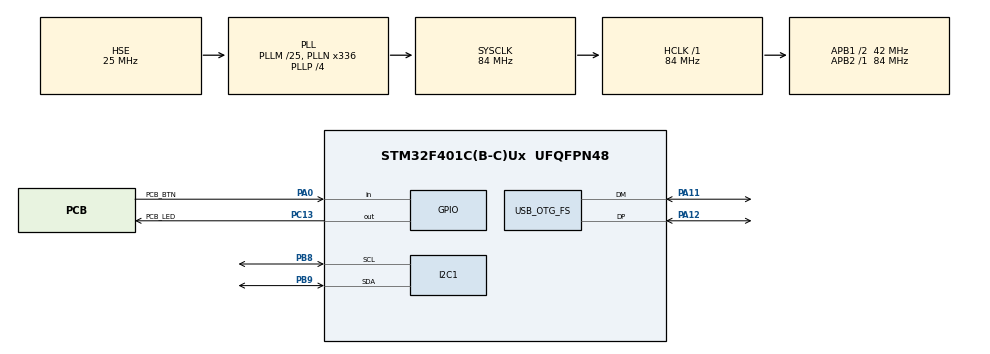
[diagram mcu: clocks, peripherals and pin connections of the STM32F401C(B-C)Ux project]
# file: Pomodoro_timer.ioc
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Mcu.Family=STM32F4
Mcu.Name=STM32F401C(B-C)Ux
Mcu.Package=UFQFPN48
NVIC.OTG_FS_IRQn=true\:0\:0\:false\:false\:true\:true\:true
NVIC.PriorityGroup=NVIC_PRIORITYGROUP_4
NVIC.TIM5_IRQn=true\:0\:0\:false\:false\:true\:true\:true
PA0-WKUP.GPIO_Label=PCB_BTN
PA0-WKUP.GPIO_PuPd=GPIO_PULLUP
PA0-WKUP.Signal=GPIO_Input
PA11.Mode=Device_Only
PA11.Signal=USB_OTG_FS_DM
PA12.Mode=Device_Only
PA12.Signal=USB_OTG_FS_DP
PA13.Mode=Serial_Wire
PA13.Signal=SYS_JTMS-SWDIO
PA14.Mode=Serial_Wire
PA14.Signal=SYS_JTCK-SWCLK
PB8.Mode=I2C
PB8.Signal=I2C1_SCL
PB9.Mode=I2C
PB9.Signal=I2C1_SDA
PC13-ANTI_TAMP.GPIO_Label=PCB_LED
PC13-ANTI_TAMP.GPIO_ModeDefaultOutputPP=GPIO_MODE_OUTPUT_OD
PC13-ANTI_TAMP.PinState=GPIO_PIN_SET
PC13-ANTI_TAMP.Signal=GPIO_Output
PH0\ -\ OSC_IN.Mode=HSE-External-Oscillator
PH0\ -\ OSC_IN.Signal=RCC_OSC_IN
PH1\ -\ OSC_OUT.Mode=HSE-External-Oscillator
PH1\ -\ OSC_OUT.Signal=RCC_OSC_OUT
ProjectManager.HeapSize=0x200
ProjectManager.StackSize=0x400
ProjectManager.TargetToolchain=MDK-ARM V5.32
RCC.48MHZClocksFreq_Value=48000000
RCC.AHBFreq_Value=84000000
RCC.APB1CLKDivider=RCC_HCLK_DIV2
RCC.APB1Freq_Value=42000000
RCC.APB1TimFreq_Value=84000000
RCC.APB2Freq_Value=84000000
RCC.APB2TimFreq_Value=84000000
RCC.CortexFreq_Value=84000000
RCC.HCLKFreq_Value=84000000
RCC.HSE_VALUE=25000000
RCC.HSI_VALUE=16000000
RCC.LSE_VALUE=32768
RCC.PLLM=25
RCC.PLLN=336
RCC.PLLP=RCC_PLLP_DIV4
RCC.PLLQ=7
RCC.SYSCLKFreq_VALUE=84000000
RCC.SYSCLKSource=RCC_SYSCLKSOURCE_PLLCLK
RCC.VCOOutputFreq_Value=336000000
TIM5.Period=1000000
TIM5.Prescaler=83
USB_DEVICE.CLASS_NAME_FS=HID
USB_DEVICE.PRODUCT_STRING_HID_FS=Pomodoro timer
USB_DEVICE.VirtualMode=Hid
USB_DEVICE.VirtualModeFS=Hid_FS
USB_OTG_FS.VirtualMode=Device_Only
VP_TIM5_VS_ClockSourceINT.Mode=Internal
VP_USB_DEVICE_VS_USB_DEVICE_HID_FS.Mode=HID_FS
board=custom

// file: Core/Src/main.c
/* USER CODE BEGIN Header */
/**
  ******************************************************************************
  * @file           : main.c
  * @brief          : Main program body
  ******************************************************************************
  * @attention
  *
  * <h2><center>&copy; Copyright (c) 2023 STMicroelectronics.
  * All rights reserved.</center></h2>
  *
  * This software component is licensed by ST under Ultimate Liberty license
  * SLA0044, the "License"; You may not use this file except in compliance with
  * the License. You may obtain a copy of the License at:
  *                             www.st.com/SLA0044
  *
  ******************************************************************************
  */
/* USER CODE END Header */
#include "main.h"
#include "i2c.h"
#include "tim.h"
#include "usb_device.h"
#include "gpio.h"

/* USER CODE BEGIN Includes */
#include "usbd_hid.h"
#include "MICROS.h"
#include "ssd1306.h"
#include "string.h"
#include "stdio.h"
#include "math.h"
/* USER CODE END Includes */

/* USER CODE BEGIN PD */
#define CLEAR_SCREEN_MAC 0x0B
#define CLEAR_SCREEN_WIN 0x07
/* USER CODE END PD */

/* USER CODE BEGIN PV */
extern USBD_HandleTypeDef  hUsbDeviceFS;
uint8_t dataToSend[5];
uint8_t btn_stat=0;

extern USBD_HandleTypeDef hUsbDeviceFS;

typedef struct
{
	uint8_t MODIFIER;
	uint8_t RESERVED;
	uint8_t KEYCODE1;
	uint8_t KEYCODE2;
	uint8_t KEYCODE3;
	uint8_t KEYCODE4;
	uint8_t KEYCODE5;
	uint8_t KEYCODE6;
}subKeyBoard;

subKeyBoard keyBoardHIDsub = {0,0,0,0,0,0,0,0};

struct timerEntity timeFromStart;

enum POMODORO_INTERVALS{
	POMODORO_PAUSE = 0,
	POMODORO_REST,
	POMODORO_WORK
} pomodoroInterval = 0;

enum POMODORO_CHANGE_REQUESTS{
	POMODORO_CHANGE_REQUEST_NONE = 0,
	POMODORO_CHANGE_REQUEST_BTN,
	POMODORO_CHANGE_REQUEST_TIMER
} pomodoroIntervalChangeRequest = 0;

uint8_t pomodoroIntervalChangeRequestBtn = 0;
uint8_t pomodoroIntervalIsChanged = 0;
struct timerEntity pomodoroTimer;
uint16_t intervalCnt = 0;

uint16_t ledBlinkingPeriodInitialMs = 5000;
struct timerEntity ledBlinkingTimer;

struct timerEntity oledUpdate;
uint8_t oledIsIntervalChanged = 0;

const uint16_t wortDurationS = 25*60, restDurationS = 5*60;

uint8_t key_sel = CLEAR_SCREEN_MAC;
/* USER CODE END PV */

void SystemClock_Config(void);
/* USER CODE BEGIN PFP */
void pressWinD(void);
/* USER CODE END PFP */

int main(void)
{

  /* MCU Configuration--------------------------------------------------------*/

  /* Reset of all peripherals, Initializes the Flash interface and the Systick. */
  HAL_Init();

  /* Configure the system clock */
  SystemClock_Config();

  /* Initialize all configured peripherals */
  MX_GPIO_Init();
  MX_USB_DEVICE_Init();
  MX_TIM5_Init();
  MX_I2C1_Init();
  /* USER CODE BEGIN 2 */
	systemTimerInit(&htim5, 84000000);
	timerStart(&timeFromStart, 0, 0);

  ssd1306_Init(&hi2c1);
  ssd1306_Fill(Black);

	if ( HAL_GPIO_ReadPin(PCB_BTN_GPIO_Port, PCB_BTN_Pin) == 1 )
		key_sel = CLEAR_SCREEN_MAC;
	else key_sel = CLEAR_SCREEN_WIN;

  ssd1306_SetCursor(5, 10);
  ssd1306_WriteString("Pomodoro", Font_11x18, White);
	ssd1306_SetCursor(5, 32);
	if( key_sel == CLEAR_SCREEN_MAC)
		ssd1306_WriteString("timer  MAC", Font_11x18, White);
	else
		ssd1306_WriteString("timer  WIN", Font_11x18, White);
  ssd1306_UpdateScreen(&hi2c1);

	while( HAL_GPIO_ReadPin(PCB_BTN_GPIO_Port, PCB_BTN_Pin) == 0 ){;}

  /* USER CODE END 2 */

  /* Infinite loop */
  /* USER CODE BEGIN WHILE */

  while (1)
  {
		static GPIO_PinState pinState = 1;

		if ( HAL_GPIO_ReadPin(PCB_BTN_GPIO_Port, PCB_BTN_Pin) != pinState){
			pinState = HAL_GPIO_ReadPin(PCB_BTN_GPIO_Port, PCB_BTN_Pin);
			if (pinState == GPIO_PIN_RESET)
				pomodoroIntervalChangeRequest = POMODORO_CHANGE_REQUEST_BTN;
		}

		if (isTimerFinished(&pomodoroTimer) == 1 && pomodoroInterval != POMODORO_PAUSE){
			pomodoroIntervalChangeRequest = POMODORO_CHANGE_REQUEST_TIMER;
		}

		if( pomodoroIntervalChangeRequest != POMODORO_CHANGE_REQUEST_NONE) {
			if ( pomodoroIntervalChangeRequest == POMODORO_CHANGE_REQUEST_BTN ){
				pomodoroIntervalIsChanged = 1;
				intervalCnt = 0;
				if( pomodoroInterval == POMODORO_PAUSE )
					pomodoroInterval = POMODORO_WORK;
				else
					pomodoroInterval = POMODORO_PAUSE;
			}

			if ( pomodoroIntervalChangeRequest == POMODORO_CHANGE_REQUEST_TIMER ){
				pomodoroIntervalIsChanged = 1;
				switch ( (uint8_t) pomodoroInterval){
					case POMODORO_WORK: pomodoroInterval = POMODORO_REST; break;
					case POMODORO_REST: pomodoroInterval = POMODORO_WORK; break;
				}
			}
			pomodoroIntervalChangeRequest = POMODORO_CHANGE_REQUEST_NONE;
			oledIsIntervalChanged = 1;
		}

		if (pomodoroIntervalIsChanged == 1){
			pomodoroIntervalIsChanged = 0;
			if(pomodoroInterval == POMODORO_WORK){
				timerStart( &pomodoroTimer, wortDurationS, 0);
				timerStart( &ledBlinkingTimer, 0, (uint32_t) ledBlinkingPeriodInitialMs * 1000);
				pressWinD();
				intervalCnt ++;
			}
			if(pomodoroInterval == POMODORO_REST){
				timerStart( &pomodoroTimer, restDurationS, 0);
				pressWinD();
			}
		}

		if ( pomodoroInterval == POMODORO_REST ){
			HAL_GPIO_WritePin(PCB_LED_GPIO_Port, PCB_LED_Pin, GPIO_PIN_RESET);
		}

		if ( pomodoroInterval == POMODORO_WORK ){
			if( isTimerFinished( &ledBlinkingTimer) ){
				HAL_GPIO_TogglePin(PCB_LED_GPIO_Port, PCB_LED_Pin);
				timerStart( &ledBlinkingTimer, 0, whatTimeIsToFinish(&pomodoroTimer)*(ledBlinkingPeriodInitialMs/10*9)/(wortDurationS*1000) + ledBlinkingPeriodInitialMs/10 );
			}
		}

		if ( pomodoroInterval == POMODORO_PAUSE ){
			HAL_GPIO_WritePin(PCB_LED_GPIO_Port, PCB_LED_Pin, GPIO_PIN_SET);
		}

		if (oledIsIntervalChanged){
			oledIsIntervalChanged = 0;
			char str[15];
			switch ((uint8_t) pomodoroInterval){
				case POMODORO_WORK:
					ssd1306_Fill(Black);
					ssd1306_UpdateScreen(&hi2c1);

					ssd1306_SetCursor(5, 10);
					ssd1306_WriteString("WORK HARD!   ", Font_11x18, White);
					ssd1306_UpdateScreen(&hi2c1);

					sprintf(str, "%03d", intervalCnt);
					ssd1306_SetCursor(90, 32);
					ssd1306_WriteString(str, Font_11x18, White);
					ssd1306_UpdateScreen(&hi2c1);
					break;
				case POMODORO_REST:
					ssd1306_SetCursor(5, 10);
					ssd1306_WriteString("CHILL HARD!   ", Font_11x18, White);
					ssd1306_UpdateScreen(&hi2c1);
					break;
				case POMODORO_PAUSE:
					ssd1306_Fill(Black);
					ssd1306_SetCursor(5, 10);
					ssd1306_WriteString("PAUSED   ", Font_11x18, White);
					ssd1306_UpdateScreen(&hi2c1);
					break;
			}
		}

		if( isTimerFinished(&oledUpdate) ){
			char str[15];
			if (pomodoroInterval != POMODORO_PAUSE){
				uint16_t secondsToFinish = truncf((float)whatTimeIsToFinish(&pomodoroTimer)/1000000);
				ssd1306_SetCursor(5, 32);
				sprintf(str, "%02d:%02d", secondsToFinish/60, secondsToFinish%60);
				ssd1306_WriteString(str, Font_11x18, White);
				timerStart(&oledUpdate, 0, 100000);
				ssd1306_UpdateScreen(&hi2c1);
			}
		}

/*
		if(pinState == GPIO_PIN_RESET){
			HAL_GPIO_WritePin(PCB_LED_GPIO_Port, PCB_LED_Pin, GPIO_PIN_RESET);
			keyBoardHIDsub.MODIFIER=0x08;  // To press win key
			keyBoardHIDsub.KEYCODE1=7;
			keyBoardHIDsub.KEYCODE2=0;  // Press d key
			USBD_HID_SendReport(&hUsbDeviceFS,&keyBoardHIDsub,sizeof(keyBoardHIDsub));
			HAL_Delay(50);
			keyBoardHIDsub.MODIFIER=0x00;  // To release win key
			keyBoardHIDsub.KEYCODE1=0x00;  // Release d key
			keyBoardHIDsub.KEYCODE2=0x00;
			USBD_HID_SendReport(&hUsbDeviceFS,&keyBoardHIDsub,sizeof(keyBoardHIDsub));
			HAL_GPIO_WritePin(PCB_LED_GPIO_Port, PCB_LED_Pin, GPIO_PIN_SET);
		}
*/
    /* USER CODE END WHILE */

  }
}

void SystemClock_Config(void)
{
  RCC_OscInitTypeDef RCC_OscInitStruct = {0};
  RCC_ClkInitTypeDef RCC_ClkInitStruct = {0};

  /** Configure the main internal regulator output voltage
  */
  __HAL_RCC_PWR_CLK_ENABLE();
  __HAL_PWR_VOLTAGESCALING_CONFIG(PWR_REGULATOR_VOLTAGE_SCALE2);
  /** Initializes the RCC Oscillators according to the specified parameters
  * in the RCC_OscInitTypeDef structure.
  */
  RCC_OscInitStruct.OscillatorType = RCC_OSCILLATORTYPE_HSE;
  RCC_OscInitStruct.HSEState = RCC_HSE_ON;
  RCC_OscInitStruct.PLL.PLLState = RCC_PLL_ON;
  RCC_OscInitStruct.PLL.PLLSource = RCC_PLLSOURCE_HSE;
  RCC_OscInitStruct.PLL.PLLM = 25;
  RCC_OscInitStruct.PLL.PLLN = 336;
  RCC_OscInitStruct.PLL.PLLP = RCC_PLLP_DIV4;
  RCC_OscInitStruct.PLL.PLLQ = 7;
  if (HAL_RCC_OscConfig(&RCC_OscInitStruct) != HAL_OK)
  {
    Error_Handler();
  }
  /** Initializes the CPU, AHB and APB buses clocks
  */
  RCC_ClkInitStruct.ClockType = RCC_CLOCKTYPE_HCLK|RCC_CLOCKTYPE_SYSCLK
                              |RCC_CLOCKTYPE_PCLK1|RCC_CLOCKTYPE_PCLK2;
  RCC_ClkInitStruct.SYSCLKSource = RCC_SYSCLKSOURCE_PLLCLK;
  RCC_ClkInitStruct.AHBCLKDivider = RCC_SYSCLK_DIV1;
  RCC_ClkInitStruct.APB1CLKDivider = RCC_HCLK_DIV2;
  RCC_ClkInitStruct.APB2CLKDivider = RCC_HCLK_DIV1;

  if (HAL_RCC_ClockConfig(&RCC_ClkInitStruct, FLASH_LATENCY_2) != HAL_OK)
  {
    Error_Handler();
  }
}

/* USER CODE BEGIN 4 */
void pressWinD(void){
				keyBoardHIDsub.MODIFIER=0x08;  // To press win key
				keyBoardHIDsub.KEYCODE1=key_sel;
				keyBoardHIDsub.KEYCODE2=0;  // Press d key
				USBD_HID_SendReport(&hUsbDeviceFS,&keyBoardHIDsub,sizeof(keyBoardHIDsub));
				HAL_Delay(50);
				keyBoardHIDsub.MODIFIER=0x00;  // To release win key
				keyBoardHIDsub.KEYCODE1=0x00;  // Release d key
				keyBoardHIDsub.KEYCODE2=0x00;
				USBD_HID_SendReport(&hUsbDeviceFS,&keyBoardHIDsub,sizeof(keyBoardHIDsub));
}
/* USER CODE END 4 */

void Error_Handler(void)
{
  __disable_irq();
  while (1)
  {
  }
}

/************************ (C) COPYRIGHT STMicroelectronics *****END OF FILE****/
